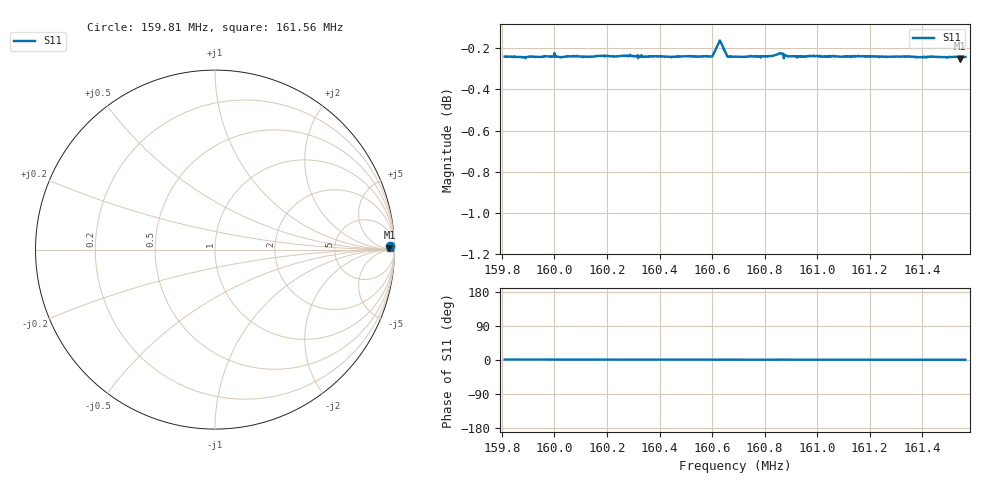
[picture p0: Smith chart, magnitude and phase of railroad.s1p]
! Calibrated averaged scanner-service zoom
# Hz S RI R 50
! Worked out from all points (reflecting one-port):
!   1001 points, 159.81 MHz to 161.56 MHz, reference 50 ohm
!   lowest |S11| = -0.3 dB at 161.54 MHz (marker M1), VSWR 69.49, Z = 3.02e+03 + j1.17e+03 ohm
!   phase of S11 starts at 1 deg and turns -1 deg over the sweep
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1.5981e8  0.9725 0.021
1.59882e8  0.9722 0.0207
1.599978e8  0.9726 0.0197
1.600294e8  0.9722 0.0195
1.600768e8  0.9728 0.0194
1.602488e8  0.9727 0.0182
1.604049e8  0.9725 0.0171
1.604681e8  0.9725 0.0161
1.604962e8  0.9728 0.0165
1.605945e8  0.9726 0.0157
1.60605e8  0.9737 0.0158
1.606226e8  0.9792 0.0164
1.606296e8  0.9814 0.0166
1.606366e8  0.9795 0.0164
1.606524e8  0.9746 0.0157
1.606594e8  0.9725 0.0155
1.606664e8  0.9727 0.0154
1.606875e8  0.9725 0.0154
1.608244e8  0.9729 0.0146
1.608367e8  0.9732 0.0149
1.608542e8  0.9741 0.0169
1.608648e8  0.9743 0.0166
1.608876e8  0.9729 0.014
1.609069e8  0.9728 0.0139
1.611262e8  0.9727 0.0124
1.613456e8  0.9727 0.0112
1.615439e8  0.9716 0.0108
1.61565e8  0.9725 0.01
